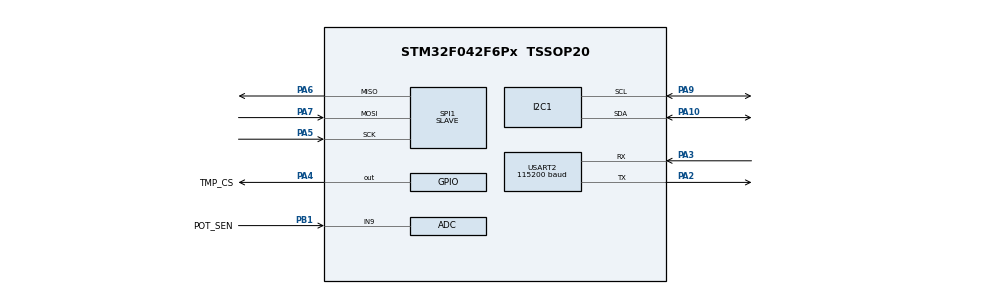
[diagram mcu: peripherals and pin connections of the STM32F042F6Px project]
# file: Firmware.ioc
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I2C1.OwnAddress=0x27
I2C1.Timing=0x00201D2B
Mcu.Family=STM32F0
Mcu.Name=STM32F042F6Px
Mcu.Package=TSSOP20
NVIC.I2C1_IRQn=true\:0\:0\:false\:false\:true\:true\:true\:true
PA10.Mode=I2C
PA10.Signal=I2C1_SDA
PA2.Mode=Asynchronous
PA2.Signal=USART2_TX
PA3.Mode=Asynchronous
PA3.Signal=USART2_RX
PA4.GPIO_Label=TMP_CS
PA4.Signal=GPIO_Output
PA5.Mode=Full_Duplex_Slave
PA5.Signal=SPI1_SCK
PA6.Mode=Full_Duplex_Slave
PA6.Signal=SPI1_MISO
PA7.Mode=Full_Duplex_Slave
PA7.Signal=SPI1_MOSI
PA9.Mode=I2C
PA9.Signal=I2C1_SCL
PB1.GPIO_Label=POT_SEN
PB1.Signal=SharedAnalog_PB1
ProjectManager.HeapSize=0x200
ProjectManager.StackSize=0x400
ProjectManager.TargetToolchain=STM32CubeIDE
SH.SharedAnalog_PB1.0=GPIO_Analog
SH.SharedAnalog_PB1.1=ADC_IN9,IN9
SPI1.Direction=SPI_DIRECTION_2LINES
SPI1.Mode=SPI_MODE_SLAVE
SPI1.VirtualType=VM_SLAVE
USART2.BaudRate=115200
USART2.VirtualMode-Asynchronous=VM_ASYNC
board=custom

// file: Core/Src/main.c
/* USER CODE BEGIN Header */
/**
 ******************************************************************************
 * @file           : main.c
 * @brief          : Main program body
 ******************************************************************************
 * @attention
 *
 * Copyright (c) 2025 STMicroelectronics.
 * All rights reserved.
 *
 * This software is licensed under terms that can be found in the LICENSE file
 * in the root directory of this software component.
 * If no LICENSE file comes with this software, it is provided AS-IS.
 *
 ******************************************************************************
 */
/* USER CODE END Header */
#include "main.h"

/* USER CODE BEGIN PV */
volatile uint8_t tx_length = 0;
volatile uint8_t* tx_buffer = 0;

typedef struct __attribute__((packed)){
	uint8_t length;
	uint16_t angle_raw;
	float angle;
	float temp;
} TX_PACKET;

volatile TX_PACKET data;

/* USER CODE END PV */

void SystemClock_Config(void);
static void MX_GPIO_Init(void);
static void MX_ADC_Init(void);
static void MX_SPI1_Init(void);
static void MX_I2C1_Init(void);
static void MX_USART2_UART_Init(void);

/* USER CODE BEGIN 0 */
void I2C_TransmitBufferUpdate(uint8_t* p, uint8_t len)
{
	tx_length = len;
	tx_buffer = p;
	return;
}

/* USER CODE END 0 */

int main(void)
{

	/* MCU Configuration--------------------------------------------------------*/

	/* Reset of all peripherals, Initializes the Flash interface and the Systick. */
	HAL_Init();

	/* Configure the system clock */
	SystemClock_Config();

	/* Initialize all configured peripherals */
	MX_GPIO_Init();
	MX_ADC_Init();
	MX_SPI1_Init();
	MX_I2C1_Init();
	MX_USART2_UART_Init();
	/* USER CODE BEGIN 2 */
	LL_ADC_Enable(ADC1);
	LL_I2C_Enable(I2C1);
	LL_I2C_EnableIT_ADDR(I2C1);
	LL_I2C_EnableIT_RX(I2C1);
	LL_I2C_EnableIT_TX(I2C1);
	LL_I2C_EnableIT_STOP(I2C1);
	LL_I2C_EnableIT_NACK(I2C1);

	/* USER CODE END 2 */

	/* Infinite loop */
	/* USER CODE BEGIN WHILE */
	while (1)
	{
		// read ADC data
		LL_ADC_REG_StartConversion(ADC1);
		while(LL_ADC_IsActiveFlag_EOC(ADC1) == 0)
		{

		}
		LL_ADC_ClearFlag_EOC(ADC1);

		data.angle_raw = LL_ADC_REG_ReadConversionData12(ADC1);

		// data calculate
		data.length = sizeof(data);
		data.angle = data.angle_raw/4096.0f * 330;
		data.temp = 29.8f;

		I2C_TransmitBufferUpdate((uint8_t*)&data, data.length);

		/* USER CODE END WHILE */

	}
}

void SystemClock_Config(void)
{
	RCC_OscInitTypeDef RCC_OscInitStruct = {0};
	RCC_ClkInitTypeDef RCC_ClkInitStruct = {0};
	RCC_PeriphCLKInitTypeDef PeriphClkInit = {0};

	/** Initializes the RCC Oscillators according to the specified parameters
	 * in the RCC_OscInitTypeDef structure.
	 */
	RCC_OscInitStruct.OscillatorType = RCC_OSCILLATORTYPE_HSI|RCC_OSCILLATORTYPE_HSI14;
	RCC_OscInitStruct.HSIState = RCC_HSI_ON;
	RCC_OscInitStruct.HSI14State = RCC_HSI14_ON;
	RCC_OscInitStruct.HSICalibrationValue = RCC_HSICALIBRATION_DEFAULT;
	RCC_OscInitStruct.HSI14CalibrationValue = 16;
	RCC_OscInitStruct.PLL.PLLState = RCC_PLL_NONE;
	if (HAL_RCC_OscConfig(&RCC_OscInitStruct) != HAL_OK)
	{
		Error_Handler();
	}

	/** Initializes the CPU, AHB and APB buses clocks
	 */
	RCC_ClkInitStruct.ClockType = RCC_CLOCKTYPE_HCLK|RCC_CLOCKTYPE_SYSCLK
			|RCC_CLOCKTYPE_PCLK1;
	RCC_ClkInitStruct.SYSCLKSource = RCC_SYSCLKSOURCE_HSI;
	RCC_ClkInitStruct.AHBCLKDivider = RCC_SYSCLK_DIV1;
	RCC_ClkInitStruct.APB1CLKDivider = RCC_HCLK_DIV1;

	if (HAL_RCC_ClockConfig(&RCC_ClkInitStruct, FLASH_LATENCY_0) != HAL_OK)
	{
		Error_Handler();
	}
	PeriphClkInit.PeriphClockSelection = RCC_PERIPHCLK_I2C1;
	PeriphClkInit.I2c1ClockSelection = RCC_I2C1CLKSOURCE_HSI;
	if (HAL_RCCEx_PeriphCLKConfig(&PeriphClkInit) != HAL_OK)
	{
		Error_Handler();
	}
}

static void MX_ADC_Init(void)
{

	LL_ADC_InitTypeDef ADC_InitStruct = {0};
	LL_ADC_REG_InitTypeDef ADC_REG_InitStruct = {0};

	LL_GPIO_InitTypeDef GPIO_InitStruct = {0};

	/* Peripheral clock enable */
	LL_APB1_GRP2_EnableClock(LL_APB1_GRP2_PERIPH_ADC1);

	LL_AHB1_GRP1_EnableClock(LL_AHB1_GRP1_PERIPH_GPIOB);
	/**ADC GPIO Configuration
  PB1   ------> ADC_IN9
	 */
	GPIO_InitStruct.Pin = POT_SEN_Pin;
	GPIO_InitStruct.Mode = LL_GPIO_MODE_ANALOG;
	GPIO_InitStruct.Pull = LL_GPIO_PULL_NO;
	LL_GPIO_Init(POT_SEN_GPIO_Port, &GPIO_InitStruct);

	/** Configure Regular Channel
	 */
	LL_ADC_REG_SetSequencerChAdd(ADC1, LL_ADC_CHANNEL_9);

	/** Configure the global features of the ADC (Clock, Resolution, Data Alignment and number of conversion)
	 */
	ADC_InitStruct.Clock = LL_ADC_CLOCK_ASYNC;
	ADC_InitStruct.Resolution = LL_ADC_RESOLUTION_12B;
	ADC_InitStruct.DataAlignment = LL_ADC_DATA_ALIGN_RIGHT;
	ADC_InitStruct.LowPowerMode = LL_ADC_LP_MODE_NONE;
	LL_ADC_Init(ADC1, &ADC_InitStruct);
	ADC_REG_InitStruct.TriggerSource = LL_ADC_REG_TRIG_SOFTWARE;
	ADC_REG_InitStruct.SequencerDiscont = LL_ADC_REG_SEQ_DISCONT_DISABLE;
	ADC_REG_InitStruct.ContinuousMode = LL_ADC_REG_CONV_SINGLE;
	ADC_REG_InitStruct.DMATransfer = LL_ADC_REG_DMA_TRANSFER_LIMITED;
	ADC_REG_InitStruct.Overrun = LL_ADC_REG_OVR_DATA_PRESERVED;
	LL_ADC_REG_Init(ADC1, &ADC_REG_InitStruct);
	LL_ADC_REG_SetSequencerScanDirection(ADC1, LL_ADC_REG_SEQ_SCAN_DIR_FORWARD);
	LL_ADC_SetSamplingTimeCommonChannels(ADC1, LL_ADC_SAMPLINGTIME_1CYCLE_5);

}

static void MX_I2C1_Init(void)
{

	LL_I2C_InitTypeDef I2C_InitStruct = {0};

	LL_GPIO_InitTypeDef GPIO_InitStruct = {0};

	LL_AHB1_GRP1_EnableClock(LL_AHB1_GRP1_PERIPH_GPIOA);
	/**I2C1 GPIO Configuration
  PA9   ------> I2C1_SCL
  PA10   ------> I2C1_SDA
	 */
	GPIO_InitStruct.Pin = LL_GPIO_PIN_9;
	GPIO_InitStruct.Mode = LL_GPIO_MODE_ALTERNATE;
	GPIO_InitStruct.Speed = LL_GPIO_SPEED_FREQ_HIGH;
	GPIO_InitStruct.OutputType = LL_GPIO_OUTPUT_OPENDRAIN;
	GPIO_InitStruct.Pull = LL_GPIO_PULL_NO;
	GPIO_InitStruct.Alternate = LL_GPIO_AF_4;
	LL_GPIO_Init(GPIOA, &GPIO_InitStruct);

	GPIO_InitStruct.Pin = LL_GPIO_PIN_10;
	GPIO_InitStruct.Mode = LL_GPIO_MODE_ALTERNATE;
	GPIO_InitStruct.Speed = LL_GPIO_SPEED_FREQ_HIGH;
	GPIO_InitStruct.OutputType = LL_GPIO_OUTPUT_OPENDRAIN;
	GPIO_InitStruct.Pull = LL_GPIO_PULL_NO;
	GPIO_InitStruct.Alternate = LL_GPIO_AF_4;
	LL_GPIO_Init(GPIOA, &GPIO_InitStruct);

	/* Peripheral clock enable */
	LL_APB1_GRP1_EnableClock(LL_APB1_GRP1_PERIPH_I2C1);

	/* I2C1 interrupt Init */
	NVIC_SetPriority(I2C1_IRQn, 0);
	NVIC_EnableIRQ(I2C1_IRQn);

	/** I2C Initialization
	 */
	LL_I2C_DisableOwnAddress2(I2C1);
	LL_I2C_DisableGeneralCall(I2C1);
	LL_I2C_EnableClockStretching(I2C1);
	I2C_InitStruct.PeripheralMode = LL_I2C_MODE_I2C;
	I2C_InitStruct.Timing = 0x00201D2B;
	I2C_InitStruct.AnalogFilter = LL_I2C_ANALOGFILTER_ENABLE;
	I2C_InitStruct.DigitalFilter = 0;
	I2C_InitStruct.OwnAddress1 = 78;
	I2C_InitStruct.TypeAcknowledge = LL_I2C_ACK;
	I2C_InitStruct.OwnAddrSize = LL_I2C_OWNADDRESS1_7BIT;
	LL_I2C_Init(I2C1, &I2C_InitStruct);
	LL_I2C_EnableAutoEndMode(I2C1);
	LL_I2C_SetOwnAddress2(I2C1, 0, LL_I2C_OWNADDRESS2_NOMASK);

}

static void MX_SPI1_Init(void)
{

	LL_SPI_InitTypeDef SPI_InitStruct = {0};

	LL_GPIO_InitTypeDef GPIO_InitStruct = {0};

	/* Peripheral clock enable */
	LL_APB1_GRP2_EnableClock(LL_APB1_GRP2_PERIPH_SPI1);

	LL_AHB1_GRP1_EnableClock(LL_AHB1_GRP1_PERIPH_GPIOA);
	/**SPI1 GPIO Configuration
  PA5   ------> SPI1_SCK
  PA6   ------> SPI1_MISO
  PA7   ------> SPI1_MOSI
	 */
	GPIO_InitStruct.Pin = LL_GPIO_PIN_5;
	GPIO_InitStruct.Mode = LL_GPIO_MODE_ALTERNATE;
	GPIO_InitStruct.Speed = LL_GPIO_SPEED_FREQ_HIGH;
	GPIO_InitStruct.OutputType = LL_GPIO_OUTPUT_PUSHPULL;
	GPIO_InitStruct.Pull = LL_GPIO_PULL_NO;
	GPIO_InitStruct.Alternate = LL_GPIO_AF_0;
	LL_GPIO_Init(GPIOA, &GPIO_InitStruct);

	GPIO_InitStruct.Pin = LL_GPIO_PIN_6;
	GPIO_InitStruct.Mode = LL_GPIO_MODE_ALTERNATE;
	GPIO_InitStruct.Speed = LL_GPIO_SPEED_FREQ_HIGH;
	GPIO_InitStruct.OutputType = LL_GPIO_OUTPUT_PUSHPULL;
	GPIO_InitStruct.Pull = LL_GPIO_PULL_NO;
	GPIO_InitStruct.Alternate = LL_GPIO_AF_0;
	LL_GPIO_Init(GPIOA, &GPIO_InitStruct);

	GPIO_InitStruct.Pin = LL_GPIO_PIN_7;
	GPIO_InitStruct.Mode = LL_GPIO_MODE_ALTERNATE;
	GPIO_InitStruct.Speed = LL_GPIO_SPEED_FREQ_HIGH;
	GPIO_InitStruct.OutputType = LL_GPIO_OUTPUT_PUSHPULL;
	GPIO_InitStruct.Pull = LL_GPIO_PULL_NO;
	GPIO_InitStruct.Alternate = LL_GPIO_AF_0;
	LL_GPIO_Init(GPIOA, &GPIO_InitStruct);

	/* SPI1 parameter configuration*/
	SPI_InitStruct.TransferDirection = LL_SPI_FULL_DUPLEX;
	SPI_InitStruct.Mode = LL_SPI_MODE_SLAVE;
	SPI_InitStruct.DataWidth = LL_SPI_DATAWIDTH_4BIT;
	SPI_InitStruct.ClockPolarity = LL_SPI_POLARITY_LOW;
	SPI_InitStruct.ClockPhase = LL_SPI_PHASE_1EDGE;
	SPI_InitStruct.NSS = LL_SPI_NSS_SOFT;
	SPI_InitStruct.BitOrder = LL_SPI_MSB_FIRST;
	SPI_InitStruct.CRCCalculation = LL_SPI_CRCCALCULATION_DISABLE;
	SPI_InitStruct.CRCPoly = 7;
	LL_SPI_Init(SPI1, &SPI_InitStruct);
	LL_SPI_SetStandard(SPI1, LL_SPI_PROTOCOL_MOTOROLA);
	LL_SPI_DisableNSSPulseMgt(SPI1);

}

static void MX_USART2_UART_Init(void)
{

	LL_USART_InitTypeDef USART_InitStruct = {0};

	LL_GPIO_InitTypeDef GPIO_InitStruct = {0};

	/* Peripheral clock enable */
	LL_APB1_GRP1_EnableClock(LL_APB1_GRP1_PERIPH_USART2);

	LL_AHB1_GRP1_EnableClock(LL_AHB1_GRP1_PERIPH_GPIOA);
	/**USART2 GPIO Configuration
  PA2   ------> USART2_TX
  PA3   ------> USART2_RX
	 */
	GPIO_InitStruct.Pin = LL_GPIO_PIN_2;
	GPIO_InitStruct.Mode = LL_GPIO_MODE_ALTERNATE;
	GPIO_InitStruct.Speed = LL_GPIO_SPEED_FREQ_HIGH;
	GPIO_InitStruct.OutputType = LL_GPIO_OUTPUT_PUSHPULL;
	GPIO_InitStruct.Pull = LL_GPIO_PULL_NO;
	GPIO_InitStruct.Alternate = LL_GPIO_AF_1;
	LL_GPIO_Init(GPIOA, &GPIO_InitStruct);

	GPIO_InitStruct.Pin = LL_GPIO_PIN_3;
	GPIO_InitStruct.Mode = LL_GPIO_MODE_ALTERNATE;
	GPIO_InitStruct.Speed = LL_GPIO_SPEED_FREQ_HIGH;
	GPIO_InitStruct.OutputType = LL_GPIO_OUTPUT_PUSHPULL;
	GPIO_InitStruct.Pull = LL_GPIO_PULL_NO;
	GPIO_InitStruct.Alternate = LL_GPIO_AF_1;
	LL_GPIO_Init(GPIOA, &GPIO_InitStruct);

	USART_InitStruct.BaudRate = 115200;
	USART_InitStruct.DataWidth = LL_USART_DATAWIDTH_8B;
	USART_InitStruct.StopBits = LL_USART_STOPBITS_1;
	USART_InitStruct.Parity = LL_USART_PARITY_NONE;
	USART_InitStruct.TransferDirection = LL_USART_DIRECTION_TX_RX;
	USART_InitStruct.HardwareFlowControl = LL_USART_HWCONTROL_NONE;
	USART_InitStruct.OverSampling = LL_USART_OVERSAMPLING_16;
	LL_USART_Init(USART2, &USART_InitStruct);
	LL_USART_DisableIT_CTS(USART2);
	LL_USART_ConfigAsyncMode(USART2);
	LL_USART_Enable(USART2);

}

static void MX_GPIO_Init(void)
{
	LL_GPIO_InitTypeDef GPIO_InitStruct = {0};

	/* GPIO Ports Clock Enable */
	LL_AHB1_GRP1_EnableClock(LL_AHB1_GRP1_PERIPH_GPIOA);
	LL_AHB1_GRP1_EnableClock(LL_AHB1_GRP1_PERIPH_GPIOB);

	/**/
	LL_GPIO_ResetOutputPin(TMP_CS_GPIO_Port, TMP_CS_Pin);

	/**/
	GPIO_InitStruct.Pin = TMP_CS_Pin;
	GPIO_InitStruct.Mode = LL_GPIO_MODE_OUTPUT;
	GPIO_InitStruct.Speed = LL_GPIO_SPEED_FREQ_LOW;
	GPIO_InitStruct.OutputType = LL_GPIO_OUTPUT_PUSHPULL;
	GPIO_InitStruct.Pull = LL_GPIO_PULL_NO;
	LL_GPIO_Init(TMP_CS_GPIO_Port, &GPIO_InitStruct);

}

void Error_Handler(void)
{
	__disable_irq();
	while (1)
	{
	}
}
